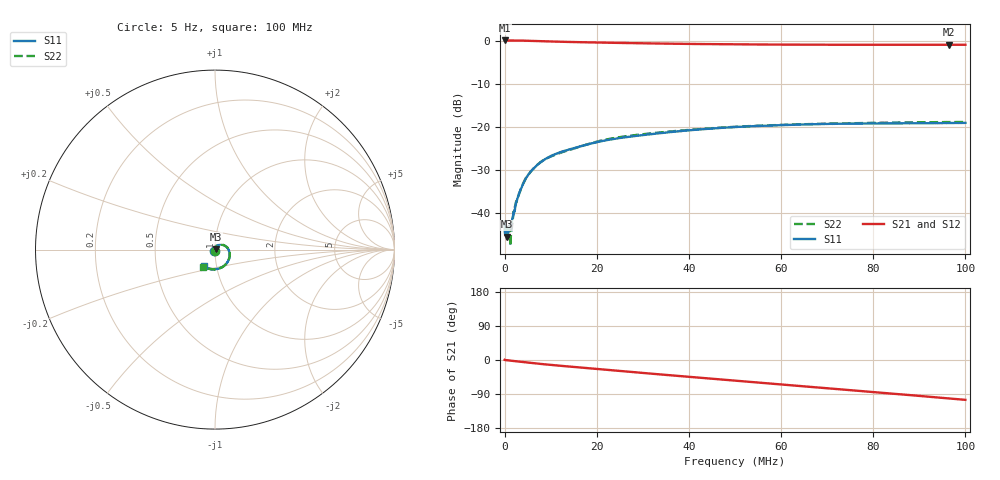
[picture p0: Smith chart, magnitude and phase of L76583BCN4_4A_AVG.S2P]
!Agilent Technologies,E5061B,MY49102235,A.02.00
!Date: Tue Jul 11 17:02:52 2023
!Data & Calibration Information:
!Freq	S11:SOLT2(ON)	S21:SOLT2(ON)	S12:SOLT2(ON)	S22:SOLT2(ON)
# Hz S RI R 50
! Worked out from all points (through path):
!   1600 points, 5 Hz to 100 MHz, reference 50 ohm
!   highest |S21| = 0.02 dB at 5 Hz (marker M1); lowest = -1.0 dB at 96.44 MHz (marker M2)
!   group delay of S21, straight-line fit = 2.85 ns
!   lowest |S11| = -45.4 dB at 500.3 kHz (marker M3), VSWR 1.01, Z = 50.5 + j0.251 ohm
!   |S11| at or under -10 dB: start of sweep to end of sweep
!   |S22| runs from -47.6 to -18.8 dB; largest |S21 - S12| = 0.0027
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5  -0.00515 -0.00564  1.002 0.00803  1.001 0.0102  -0.00144 -0.00755
500317.7  0.00473 0.00249  1.001 -0.0107  1.002 -0.0106  0.00493 0.000927
938091.3  0.0046 0.00511  1.001 -0.0206  1.001 -0.0202  0.00617 0.00451
1250787  0.00481 0.00525  1 -0.0274  1 -0.0272  0.00239 0.00341
1688560  0.00457 0.00727  0.9999 -0.0393  1.001 -0.0393  0.00429 0.00642
1938717  0.00403 0.00919  1.001 -0.0454  1 -0.0447  0.00434 0.00944
2251412  0.00446 0.0101  0.9992 -0.0537  0.9989 -0.0523  0.00493 0.0109
2939342  0.00664 0.0143  0.9973 -0.0694  0.9967 -0.0694  0.00561 0.0147
3564733  0.00824 0.0175  0.9949 -0.0844  0.9947 -0.0843  0.00737 0.018
4377741  0.011 0.0213  0.9911 -0.1038  0.9907 -0.1036  0.0105 0.0219
5816140  0.0175 0.0258  0.982 -0.1355  0.9817 -0.1354  0.0167 0.0261
7879930  0.0265 0.0289  0.9673 -0.178  0.9671 -0.1779  0.0263 0.0295
9881180  0.0354 0.0288  0.952 -0.2157  0.9516 -0.2155  0.0346 0.0289
1.23202e7  0.044 0.0265  0.9328 -0.2582  0.9326 -0.2578  0.0432 0.0265
1.669794e7  0.0564 0.0206  0.8972 -0.3309  0.897 -0.3306  0.0561 0.0205
2.345216e7  0.0719 0.00593  0.8358 -0.4336  0.8356 -0.4332  0.0738 0.00476
3.333334e7  0.0809 -0.0237  0.7316 -0.564  0.7315 -0.5636  0.0821 -0.0249
5.003127e7  0.0661 -0.0746  0.5263 -0.7347  0.5262 -0.7344  0.066 -0.0756
6.672921e7  0.0219 -0.1051  0.2908 -0.8469  0.2912 -0.8467  0.0227 -0.1056
8.33646e7  -0.0243 -0.1071  0.0326 -0.8929  0.0326 -0.8929  -0.024 -0.1094
9.643527e7  -0.0561 -0.0956  -0.1772 -0.8754  -0.177 -0.8754  -0.0565 -0.0988
1e8  -0.0639 -0.0912  -0.2337 -0.8622  -0.2335 -0.8621  -0.0642 -0.0943
